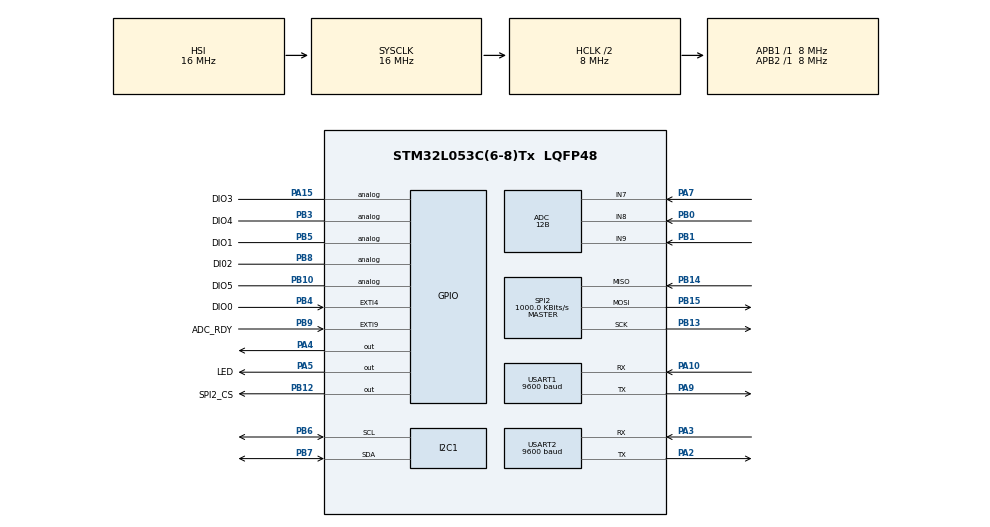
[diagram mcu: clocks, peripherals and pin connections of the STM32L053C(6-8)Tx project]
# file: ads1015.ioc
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ADC.ClockPrescaler=ADC_CLOCK_SYNC_PCLK_DIV2
ADC.ContinuousConvMode=ENABLE
ADC.DMAContinuousRequests=DISABLE
ADC.DataAlign=ADC_DATAALIGN_RIGHT
ADC.DiscontinuousConvMode=DISABLE
ADC.EOCSelection=ADC_EOC_SINGLE_CONV
ADC.EnableAnalogWatchDog=false
ADC.ExternalTrigConv=ADC_SOFTWARE_START
ADC.ExternalTrigConvEdge=ADC_EXTERNALTRIGCONVEDGE_NONE
ADC.LowPowerAutoPowerOff=DISABLE
ADC.LowPowerAutoWait=ENABLE
ADC.LowPowerFrequencyMode=DISABLE
ADC.Overrun=ADC_OVR_DATA_PRESERVED
ADC.OversamplingMode=DISABLE
ADC.Resolution=ADC_RESOLUTION_12B
ADC.SamplingTime=ADC_SAMPLETIME_160CYCLES_5
ADC.ScanConvMode=ADC_SCAN_DIRECTION_FORWARD
I2C1.Timing=0x2000090E
Mcu.Family=STM32L0
Mcu.Name=STM32L053C(6-8)Tx
Mcu.Package=LQFP48
NVIC.EXTI4_15_IRQn=true\:0\:0\:false\:true\:true\:2\:true
NVIC.RTC_IRQn=true\:0\:0\:true\:true\:true\:1\:true
NVIC.USART1_IRQn=true\:0\:0\:false\:false\:true\:true
NVIC.USART2_IRQn=true\:0\:0\:false\:false\:true\:true
PA10.Mode=Asynchronous
PA10.Signal=USART1_RX
PA13.Mode=Serial_Wire
PA13.Signal=SYS_SWDIO
PA14.Mode=Serial_Wire
PA14.Signal=SYS_SWCLK
PA15.GPIO_Label=DIO3
PA15.Signal=GPIO_Analog
PA2.Mode=Asynchronous
PA2.Signal=USART2_TX
PA3.Mode=Asynchronous
PA3.Signal=USART2_RX
PA4.Signal=GPIO_Output
PA5.GPIO_Label=LED
PA5.Signal=GPIO_Output
PA7.Mode=IN7
PA7.Signal=ADC_IN7
PA9.Mode=Asynchronous
PA9.Signal=USART1_TX
PB0.Mode=IN8
PB0.Signal=ADC_IN8
PB1.Mode=IN9
PB1.Signal=ADC_IN9
PB10.GPIO_Label=DIO5
PB10.Signal=GPIO_Analog
PB12.GPIO_Label=SPI2_CS
PB12.Signal=GPIO_Output
PB13.Mode=Full_Duplex_Master
PB13.Signal=SPI2_SCK
PB14.Mode=Full_Duplex_Master
PB14.Signal=SPI2_MISO
PB15.Mode=Full_Duplex_Master
PB15.Signal=SPI2_MOSI
PB3.GPIO_Label=DIO4
PB3.Signal=GPIO_Analog
PB4.GPIO_Label=DIO0
PB4.Signal=GPXTI4
PB5.GPIO_Label=DIO1
PB5.Signal=GPIO_Analog
PB6.Mode=I2C
PB6.Signal=I2C1_SCL
PB7.Mode=I2C
PB7.Signal=I2C1_SDA
PB8.GPIO_Label=DI02
PB8.Signal=GPIO_Analog
PB9.GPIO_Label=ADC_RDY
PB9.Signal=GPXTI9
ProjectManager.HeapSize=0x200
ProjectManager.StackSize=0x400
ProjectManager.TargetToolchain=SW4STM32
RCC.AHBCLKDivider=RCC_SYSCLK_DIV2
RCC.AHBFreq_Value=8000000
RCC.APB1Freq_Value=8000000
RCC.APB1TimFreq_Value=8000000
RCC.APB2Freq_Value=8000000
RCC.APB2TimFreq_Value=8000000
RCC.HCLKFreq_Value=8000000
RCC.HSE_VALUE=8000000
RCC.HSI16_VALUE=16000000
RCC.HSI48_VALUE=48000000
RCC.HSI_VALUE=16000000
RCC.LSE_VALUE=32768
RCC.MSI_VALUE=2097000
RCC.SYSCLKFreq_VALUE=16000000
RCC.SYSCLKSource=RCC_SYSCLKSOURCE_HSI
RCC.VCOOutputFreq_Value=48000000
RTC.WakeUpClock-WakeUp=RTC_WAKEUPCLOCK_CK_SPRE_16BITS
SPI2.BaudRatePrescaler=SPI_BAUDRATEPRESCALER_8
SPI2.CLKPhase=SPI_PHASE_1EDGE
SPI2.CLKPolarity=SPI_POLARITY_LOW
SPI2.CalculateBaudRate=1000.0 KBits/s
SPI2.Direction=SPI_DIRECTION_2LINES
SPI2.Mode=SPI_MODE_MASTER
SPI2.VirtualType=VM_MASTER
USART1.BaudRate=9600
USART1.VirtualMode-Asynchronous=VM_ASYNC
USART1.WordLength=WORDLENGTH_8B
USART2.BaudRate=9600
USART2.VirtualMode-Asynchronous=VM_ASYNC
VP_ADC_TempSens_Input.Mode=IN-TempSens
VP_RTC_VS_RTC_Activate.Mode=RTC_Enabled
VP_RTC_VS_RTC_Calendar.Mode=RTC_Calendar
VP_RTC_VS_RTC_WakeUp_intern.Mode=WakeUp
board=lora_sensor

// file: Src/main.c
/* USER CODE BEGIN Header */
/**
  ******************************************************************************
  * @file           : main.c
  * @brief          : Main program body
  ******************************************************************************
  ** This notice applies to any and all portions of this file
  * that are not between comment pairs USER CODE BEGIN and
  * USER CODE END. Other portions of this file, whether
  * inserted by the user or by software development tools
  * are owned by their respective copyright owners.
  *
  * COPYRIGHT(c) 2018 STMicroelectronics
  *
  * Redistribution and use in source and binary forms, with or without modification,
  * are permitted provided that the following conditions are met:
  *   1. Redistributions of source code must retain the above copyright notice,
  *      this list of conditions and the following disclaimer.
  *   2. Redistributions in binary form must reproduce the above copyright notice,
  *      this list of conditions and the following disclaimer in the documentation
  *      and/or other materials provided with the distribution.
  *   3. Neither the name of STMicroelectronics nor the names of its contributors
  *      may be used to endorse or promote products derived from this software
  *      without specific prior written permission.
  *
  * THIS SOFTWARE IS PROVIDED BY THE COPYRIGHT HOLDERS AND CONTRIBUTORS "AS IS"
  * AND ANY EXPRESS OR IMPLIED WARRANTIES, INCLUDING, BUT NOT LIMITED TO, THE
  * IMPLIED WARRANTIES OF MERCHANTABILITY AND FITNESS FOR A PARTICULAR PURPOSE ARE
  * DISCLAIMED. IN NO EVENT SHALL THE COPYRIGHT HOLDER OR CONTRIBUTORS BE LIABLE
  * FOR ANY DIRECT, INDIRECT, INCIDENTAL, SPECIAL, EXEMPLARY, OR CONSEQUENTIAL
  * DAMAGES (INCLUDING, BUT NOT LIMITED TO, PROCUREMENT OF SUBSTITUTE GOODS OR
  * SERVICES; LOSS OF USE, DATA, OR PROFITS; OR BUSINESS INTERRUPTION) HOWEVER
  * CAUSED AND ON ANY THEORY OF LIABILITY, WHETHER IN CONTRACT, STRICT LIABILITY,
  * OR TORT (INCLUDING NEGLIGENCE OR OTHERWISE) ARISING IN ANY WAY OUT OF THE USE
  * OF THIS SOFTWARE, EVEN IF ADVISED OF THE POSSIBILITY OF SUCH DAMAGE.
  *
  ******************************************************************************
  */
/* USER CODE END Header */

#include "main.h"
#include "adc.h"
#include "i2c.h"
#include "rtc.h"
#include "spi.h"
#include "usart.h"
#include "gpio.h"

/* USER CODE BEGIN Includes */

#include "stdio.h"
#include "battery.h"

/* USER CODE END Includes */

/* USER CODE BEGIN PV */

  uint16_t batt;
  int16_t ma;

#define TXBUFFERSIZE 32
char tx_buffer[TXBUFFERSIZE];

/* USER CODE END PV */

void SystemClock_Config(void);
static void MX_NVIC_Init(void);

int main(void)
{

  /* MCU Configuration--------------------------------------------------------*/

  /* Reset of all peripherals, Initializes the Flash interface and the Systick. */
  HAL_Init();

  /* Configure the system clock */
  SystemClock_Config();

  /* Initialize all configured peripherals */
  MX_GPIO_Init();
  MX_ADC_Init();
  MX_I2C1_Init();
  MX_RTC_Init();
  MX_USART1_UART_Init();
  MX_SPI2_Init();
  MX_USART2_UART_Init();

  /* Initialize interrupts */
  MX_NVIC_Init();
  /* USER CODE BEGIN 2 */

  HAL_ADCEx_Calibration_Start(&hadc, ADC_SINGLE_ENDED);

  /* USER CODE END 2 */

  /* Infinite loop */
  while (1)
  {

    /* USER CODE BEGIN 3 */

	  HAL_GPIO_TogglePin(GPIOA, LED_Pin);

	  batt = BATTERY_vcc();
	  ma = BATTERY_ChargeMa();

	  int tx_len = snprintf(
	    tx_buffer,
		TXBUFFERSIZE,
		"batt:%d, ma:%d\n",
		batt,
		ma
	  );
	  HAL_UART_Transmit_IT(&huart2, (uint8_t *)tx_buffer, tx_len);

	  HAL_Delay(500);

  }
  /* USER CODE END 3 */
}

void SystemClock_Config(void)
{
  RCC_OscInitTypeDef RCC_OscInitStruct = {0};
  RCC_ClkInitTypeDef RCC_ClkInitStruct = {0};
  RCC_PeriphCLKInitTypeDef PeriphClkInit = {0};

  /**Configure the main internal regulator output voltage
  */
  __HAL_PWR_VOLTAGESCALING_CONFIG(PWR_REGULATOR_VOLTAGE_SCALE1);
  /**Initializes the CPU, AHB and APB busses clocks
  */
  RCC_OscInitStruct.OscillatorType = RCC_OSCILLATORTYPE_HSI|RCC_OSCILLATORTYPE_LSI;
  RCC_OscInitStruct.HSIState = RCC_HSI_ON;
  RCC_OscInitStruct.HSICalibrationValue = RCC_HSICALIBRATION_DEFAULT;
  RCC_OscInitStruct.LSIState = RCC_LSI_ON;
  RCC_OscInitStruct.PLL.PLLState = RCC_PLL_NONE;
  if (HAL_RCC_OscConfig(&RCC_OscInitStruct) != HAL_OK)
  {
    Error_Handler();
  }
  /**Initializes the CPU, AHB and APB busses clocks
  */
  RCC_ClkInitStruct.ClockType = RCC_CLOCKTYPE_HCLK|RCC_CLOCKTYPE_SYSCLK
                              |RCC_CLOCKTYPE_PCLK1|RCC_CLOCKTYPE_PCLK2;
  RCC_ClkInitStruct.SYSCLKSource = RCC_SYSCLKSOURCE_HSI;
  RCC_ClkInitStruct.AHBCLKDivider = RCC_SYSCLK_DIV2;
  RCC_ClkInitStruct.APB1CLKDivider = RCC_HCLK_DIV1;
  RCC_ClkInitStruct.APB2CLKDivider = RCC_HCLK_DIV1;

  if (HAL_RCC_ClockConfig(&RCC_ClkInitStruct, FLASH_LATENCY_0) != HAL_OK)
  {
    Error_Handler();
  }
  PeriphClkInit.PeriphClockSelection = RCC_PERIPHCLK_USART1|RCC_PERIPHCLK_USART2
                              |RCC_PERIPHCLK_I2C1|RCC_PERIPHCLK_RTC;
  PeriphClkInit.Usart1ClockSelection = RCC_USART1CLKSOURCE_PCLK2;
  PeriphClkInit.Usart2ClockSelection = RCC_USART2CLKSOURCE_PCLK1;
  PeriphClkInit.I2c1ClockSelection = RCC_I2C1CLKSOURCE_PCLK1;
  PeriphClkInit.RTCClockSelection = RCC_RTCCLKSOURCE_LSI;
  if (HAL_RCCEx_PeriphCLKConfig(&PeriphClkInit) != HAL_OK)
  {
    Error_Handler();
  }
}

/**
  * @brief NVIC Configuration.
  * @retval None
  */
static void MX_NVIC_Init(void)
{
  /* RTC_IRQn interrupt configuration */
  HAL_NVIC_SetPriority(RTC_IRQn, 0, 0);
  HAL_NVIC_EnableIRQ(RTC_IRQn);
  /* EXTI4_15_IRQn interrupt configuration */
  HAL_NVIC_SetPriority(EXTI4_15_IRQn, 0, 0);
  HAL_NVIC_EnableIRQ(EXTI4_15_IRQn);
}

/* USER CODE BEGIN 4 */

void HAL_UART_TxCpltCallback(UART_HandleTypeDef *huart)
{

}

/* USER CODE END 4 */

void Error_Handler(void)
{
}

/************************ (C) COPYRIGHT STMicroelectronics *****END OF FILE****/
